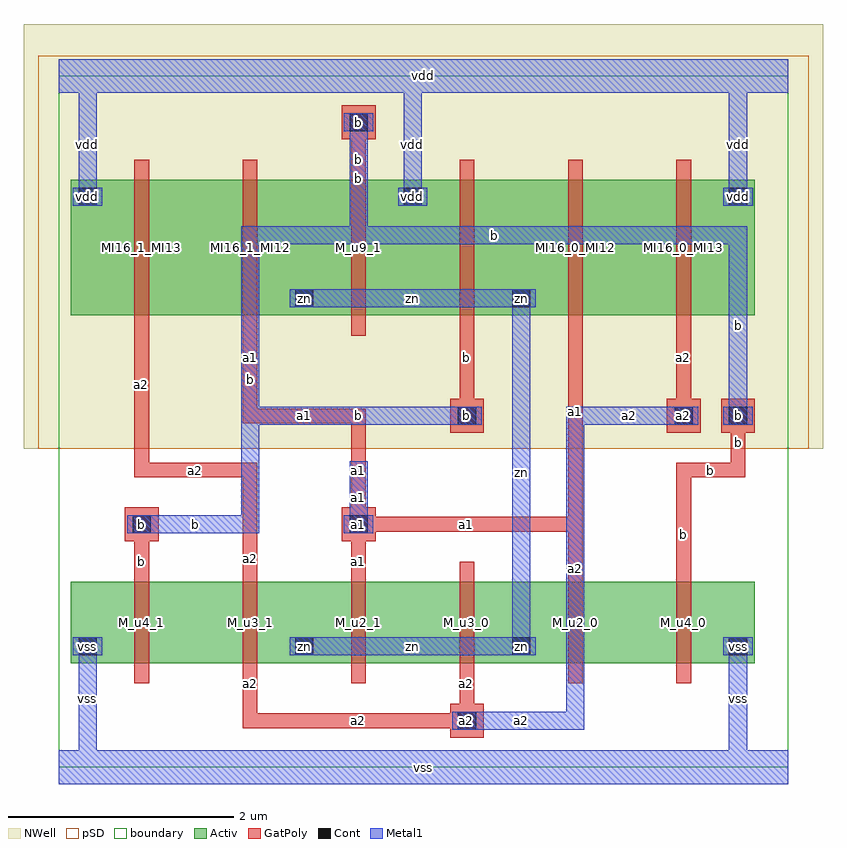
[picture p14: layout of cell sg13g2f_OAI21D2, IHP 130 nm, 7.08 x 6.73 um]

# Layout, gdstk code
import gdstk
lib = gdstk.Library(unit=1e-6, precision=1e-09)
def R(c, l, rs):  # rectangles x0, y0, x1, y1
    for r in rs: c.add(gdstk.rectangle(r[:2], r[2:], *l))
def A(c, l, x, y, w, h, nx, ny, dx, dy):  # array of equal rectangles
    R(c, l, [(x+i*dx, y+j*dy, x+i*dx+w, y+j*dy+h) for i in range(nx) for j in range(ny)])
Activ = (1, 0)
GatPoly = (5, 0)
Cont = (6, 0)
Metal1 = (8, 0)
pSD = (14, 0)
NWell = (31, 0)
TEXT = (63, 0)
boundary = (189, 4)

sg13g2f_oai21d2 = lib.new_cell('sg13g2f_OAI21D2')
A(sg13g2f_oai21d2, Activ, 0.105, 0.92, 1.26, 0.72, 6, 1, 0.96, 0)
A(sg13g2f_oai21d2, Activ, 0.105, 0.92, 0.3, 0.3, 4, 1, 1.92, 0)
A(sg13g2f_oai21d2, Activ, 0.105, 4, 1.26, 1.2, 6, 1, 0.96, 0)
A(sg13g2f_oai21d2, Activ, 0.105, 4.9, 0.3, 0.3, 3, 1, 2.88, 0)
R(sg13g2f_oai21d2, Activ, [(2.025,4,2.325,4.3), (3.945,4,4.245,4.3)])
A(sg13g2f_oai21d2, GatPoly, 0.67, 0.74, 0.13, 1.08, 6, 1, 0.96, 0)
A(sg13g2f_oai21d2, GatPoly, 0.67, 1.425, 0.13, 0.79, 3, 1, 1.92, 0)
A(sg13g2f_oai21d2, GatPoly, 1.63, 3.045, 0.13, 1.17, 3, 1, 1.92, 0)
A(sg13g2f_oai21d2, GatPoly, 0.67, 3.82, 0.13, 1.56, 6, 1, 0.96, 0)
R(sg13g2f_oai21d2, GatPoly, [(3.465,0.26,3.765,0.56), (1.63,0.345,1.76,1.135), (1.63,0.345,3.68,0.475), (3.55,0.345,3.68,1.135), (1.63,1.005,1.76,2.695), (5.47,1.425,5.6,2.695), (0.585,2,0.885,2.3), (2.505,2,2.805,2.3), (2.59,2.085,4.64,2.215), (2.59,2.085,2.72,3.175), (4.51,2.085,4.64,4.215), (0.67,2.565,1.76,2.695), (0.67,2.565,0.8,4.215), (5.47,2.565,6.08,2.695), (5.95,2.565,6.08,3.175), (3.465,2.96,3.765,3.26), (5.385,2.96,5.685,3.26), (5.865,2.96,6.165,3.26), (1.63,3.045,2.72,3.175), (2.59,4.985,2.72,5.775), (2.505,5.56,2.805,5.86)])
A(sg13g2f_oai21d2, Cont, 0.175, 0.99, 0.16, 0.16, 4, 1, 1.92, 0)
A(sg13g2f_oai21d2, Cont, 0.175, 4.97, 0.16, 0.16, 3, 1, 2.88, 0)
R(sg13g2f_oai21d2, Cont, [(3.535,0.33,3.695,0.49), (0.655,2.07,0.815,2.23), (2.575,2.07,2.735,2.23), (3.535,3.03,3.695,3.19), (5.455,3.03,5.615,3.19), (5.935,3.03,6.095,3.19), (2.095,4.07,2.255,4.23), (4.015,4.07,4.175,4.23), (2.575,5.63,2.735,5.79)])
A(sg13g2f_oai21d2, Metal1, 0.125, 0.99, 0.26, 0.16, 4, 1, 1.92, 0)
A(sg13g2f_oai21d2, Metal1, 0.125, 4.97, 0.26, 0.16, 3, 1, 2.88, 0)
A(sg13g2f_oai21d2, Metal1, 0.175, 4.97, 0.16, 1.08, 3, 1, 2.88, 0)
R(sg13g2f_oai21d2, Metal1, [(0,-0.15,6.46,0.15), (0.175,0.07,0.335,1.15), (5.935,0.07,6.095,1.15), (3.485,0.33,3.745,0.49), (3.535,0.33,4.655,0.49), (4.495,0.33,4.655,3.19), (2.095,0.99,4.175,1.15), (4.015,0.99,4.175,4.23), (0.605,2.07,0.865,2.23), (0.655,2.07,1.775,2.23), (1.615,2.07,1.775,4.79), (2.525,2.07,2.785,2.23), (2.575,2.07,2.735,2.71), (1.615,3.03,3.695,3.19), (3.485,3.03,3.745,3.19), (4.495,3.03,5.615,3.19), (5.405,3.03,5.665,3.19), (5.885,3.03,6.145,3.19), (5.935,3.03,6.095,4.79), (2.045,4.07,2.305,4.23), (2.095,4.07,4.175,4.23), (3.965,4.07,4.225,4.23), (1.615,4.63,6.095,4.79), (2.575,4.63,2.735,5.79), (2.525,5.63,2.785,5.79), (0,5.97,6.46,6.27)])
R(sg13g2f_oai21d2, pSD, [(-0.18,2.82,6.64,5.94), (-0.18,5.94,6.64,6.3)])
R(sg13g2f_oai21d2, NWell, [(-0.31,2.82,6.77,6.58)])
R(sg13g2f_oai21d2, boundary, [(0,0,6.46,6.12)])
sg13g2f_oai21d2.add(gdstk.FlexPath([(0.105,0.41),(6.165,0.41)], 0, ends="flush", simple_path=True, layer=63, datatype=0))  # TEXT
sg13g2f_oai21d2.add(gdstk.FlexPath([(0.105,1.07),(6.165,1.07)], 0, ends="flush", simple_path=True, layer=63, datatype=0))  # TEXT
sg13g2f_oai21d2.add(gdstk.FlexPath([(0.105,1.49),(6.165,1.49)], 0, ends="flush", simple_path=True, layer=63, datatype=0))  # TEXT
sg13g2f_oai21d2.add(gdstk.FlexPath([(0.105,2.15),(6.165,2.15)], 0, ends="flush", simple_path=True, layer=63, datatype=0))  # TEXT
sg13g2f_oai21d2.add(gdstk.FlexPath([(0.105,2.63),(6.165,2.63)], 0, ends="flush", simple_path=True, layer=63, datatype=0))  # TEXT
sg13g2f_oai21d2.add(gdstk.FlexPath([(0.105,3.11),(6.165,3.11)], 0, ends="flush", simple_path=True, layer=63, datatype=0))  # TEXT
sg13g2f_oai21d2.add(gdstk.FlexPath([(0.105,4.15),(6.165,4.15)], 0, ends="flush", simple_path=True, layer=63, datatype=0))  # TEXT
sg13g2f_oai21d2.add(gdstk.FlexPath([(0.105,4.71),(6.165,4.71)], 0, ends="flush", simple_path=True, layer=63, datatype=0))  # TEXT
sg13g2f_oai21d2.add(gdstk.FlexPath([(0.105,5.05),(6.165,5.05)], 0, ends="flush", simple_path=True, layer=63, datatype=0))  # TEXT
sg13g2f_oai21d2.add(gdstk.FlexPath([(0.105,5.71),(6.165,5.71)], 0, ends="flush", simple_path=True, layer=63, datatype=0))  # TEXT
sg13g2f_oai21d2.add(gdstk.FlexPath([(0.255,0.07),(0.255,6.05)], 0, ends="flush", simple_path=True, layer=63, datatype=0))  # TEXT
sg13g2f_oai21d2.add(gdstk.FlexPath([(0.735,0.07),(0.735,6.05)], 0, ends="flush", simple_path=True, layer=63, datatype=0))  # TEXT
sg13g2f_oai21d2.add(gdstk.FlexPath([(1.215,0.07),(1.215,6.05)], 0, ends="flush", simple_path=True, layer=63, datatype=0))  # TEXT
sg13g2f_oai21d2.add(gdstk.FlexPath([(1.695,0.07),(1.695,6.05)], 0, ends="flush", simple_path=True, layer=63, datatype=0))  # TEXT
sg13g2f_oai21d2.add(gdstk.FlexPath([(2.175,0.07),(2.175,6.05)], 0, ends="flush", simple_path=True, layer=63, datatype=0))  # TEXT
sg13g2f_oai21d2.add(gdstk.FlexPath([(2.655,0.07),(2.655,6.05)], 0, ends="flush", simple_path=True, layer=63, datatype=0))  # TEXT
sg13g2f_oai21d2.add(gdstk.FlexPath([(3.135,0.07),(3.135,6.05)], 0, ends="flush", simple_path=True, layer=63, datatype=0))  # TEXT
sg13g2f_oai21d2.add(gdstk.FlexPath([(3.615,0.07),(3.615,6.05)], 0, ends="flush", simple_path=True, layer=63, datatype=0))  # TEXT
sg13g2f_oai21d2.add(gdstk.FlexPath([(4.095,0.07),(4.095,6.05)], 0, ends="flush", simple_path=True, layer=63, datatype=0))  # TEXT
sg13g2f_oai21d2.add(gdstk.FlexPath([(4.575,0.07),(4.575,6.05)], 0, ends="flush", simple_path=True, layer=63, datatype=0))  # TEXT
sg13g2f_oai21d2.add(gdstk.FlexPath([(5.055,0.07),(5.055,6.05)], 0, ends="flush", simple_path=True, layer=63, datatype=0))  # TEXT
sg13g2f_oai21d2.add(gdstk.FlexPath([(5.535,0.07),(5.535,6.05)], 0, ends="flush", simple_path=True, layer=63, datatype=0))  # TEXT
sg13g2f_oai21d2.add(gdstk.FlexPath([(6.015,0.07),(6.015,6.05)], 0, ends="flush", simple_path=True, layer=63, datatype=0))  # TEXT
sg13g2f_oai21d2.add(gdstk.Label('zn', (4.095,1.07), layer=6, texttype=0))
sg13g2f_oai21d2.add(gdstk.Label('zn', (2.175,1.07), layer=6, texttype=0))
sg13g2f_oai21d2.add(gdstk.Label('zn', (4.095,4.15), layer=6, texttype=0))
sg13g2f_oai21d2.add(gdstk.Label('zn', (2.175,4.15), layer=6, texttype=0))
sg13g2f_oai21d2.add(gdstk.Label('a1', (2.655,2.15), layer=6, texttype=0))
sg13g2f_oai21d2.add(gdstk.Label('a2', (3.615,0.41), layer=6, texttype=0))
sg13g2f_oai21d2.add(gdstk.Label('a2', (5.535,3.11), layer=6, texttype=0))
sg13g2f_oai21d2.add(gdstk.Label('b', (6.015,3.11), layer=6, texttype=0))
sg13g2f_oai21d2.add(gdstk.Label('b', (0.735,2.15), layer=6, texttype=0))
sg13g2f_oai21d2.add(gdstk.Label('b', (3.615,3.11), layer=6, texttype=0))
sg13g2f_oai21d2.add(gdstk.Label('b', (2.655,5.71), layer=6, texttype=0))
sg13g2f_oai21d2.add(gdstk.Label('vss', (6.015,1.07), layer=6, texttype=0))
sg13g2f_oai21d2.add(gdstk.Label('vss', (0.255,1.07), layer=6, texttype=0))
sg13g2f_oai21d2.add(gdstk.Label('vdd', (3.135,5.05), layer=6, texttype=0))
sg13g2f_oai21d2.add(gdstk.Label('vdd', (6.015,5.05), layer=6, texttype=0))
sg13g2f_oai21d2.add(gdstk.Label('vdd', (0.255,5.05), layer=6, texttype=0))
sg13g2f_oai21d2.add(gdstk.Label('vss', (6.015,1.07), layer=8, texttype=0))
sg13g2f_oai21d2.add(gdstk.Label('vss', (6.015,0.61), layer=8, texttype=0))
sg13g2f_oai21d2.add(gdstk.Label('vss', (0.255,1.07), layer=8, texttype=0))
sg13g2f_oai21d2.add(gdstk.Label('vss', (0.255,0.61), layer=8, texttype=0))
sg13g2f_oai21d2.add(gdstk.Label('vdd', (3.135,5.05), layer=8, texttype=0))
sg13g2f_oai21d2.add(gdstk.Label('vdd', (3.135,5.51), layer=8, texttype=0))
sg13g2f_oai21d2.add(gdstk.Label('vdd', (6.015,5.05), layer=8, texttype=0))
sg13g2f_oai21d2.add(gdstk.Label('vdd', (6.015,5.51), layer=8, texttype=0))
sg13g2f_oai21d2.add(gdstk.Label('vdd', (0.255,5.05), layer=8, texttype=0))
sg13g2f_oai21d2.add(gdstk.Label('vdd', (0.255,5.51), layer=8, texttype=0))
sg13g2f_oai21d2.add(gdstk.Label('zn', (4.095,1.07), layer=8, texttype=2))
sg13g2f_oai21d2.add(gdstk.Label('zn', (2.175,1.07), layer=8, texttype=2))
sg13g2f_oai21d2.add(gdstk.Label('zn', (4.095,4.15), layer=8, texttype=2))
sg13g2f_oai21d2.add(gdstk.Label('zn', (2.175,4.15), layer=8, texttype=2))
sg13g2f_oai21d2.add(gdstk.Label('zn', (3.135,1.07), layer=8, texttype=2))
sg13g2f_oai21d2.add(gdstk.Label('zn', (4.095,2.61), layer=8, texttype=2))
sg13g2f_oai21d2.add(gdstk.Label('zn', (3.135,4.15), layer=8, texttype=2))
sg13g2f_oai21d2.add(gdstk.Label('a1', (2.655,2.15), layer=8, texttype=2))
sg13g2f_oai21d2.add(gdstk.Label('a1', (2.655,2.39), layer=8, texttype=2))
sg13g2f_oai21d2.add(gdstk.Label('a2', (3.615,0.41), layer=8, texttype=2))
sg13g2f_oai21d2.add(gdstk.Label('a2', (4.095,0.41), layer=8, texttype=2))
sg13g2f_oai21d2.add(gdstk.Label('a2', (4.575,1.76), layer=8, texttype=2))
sg13g2f_oai21d2.add(gdstk.Label('a2', (5.055,3.11), layer=8, texttype=2))
sg13g2f_oai21d2.add(gdstk.Label('a2', (5.535,3.11), layer=8, texttype=2))
sg13g2f_oai21d2.add(gdstk.Label('b', (6.015,3.11), layer=8, texttype=2))
sg13g2f_oai21d2.add(gdstk.Label('b', (6.015,3.91), layer=8, texttype=2))
sg13g2f_oai21d2.add(gdstk.Label('b', (3.855,4.71), layer=8, texttype=2))
sg13g2f_oai21d2.add(gdstk.Label('b', (1.695,3.43), layer=8, texttype=2))
sg13g2f_oai21d2.add(gdstk.Label('b', (1.215,2.15), layer=8, texttype=2))
sg13g2f_oai21d2.add(gdstk.Label('b', (0.735,2.15), layer=8, texttype=2))
sg13g2f_oai21d2.add(gdstk.Label('b', (2.655,3.11), layer=8, texttype=2))
sg13g2f_oai21d2.add(gdstk.Label('b', (3.615,3.11), layer=8, texttype=2))
sg13g2f_oai21d2.add(gdstk.Label('b', (2.655,5.21), layer=8, texttype=2))
sg13g2f_oai21d2.add(gdstk.Label('b', (2.655,5.71), layer=8, texttype=2))
sg13g2f_oai21d2.add(gdstk.Label('vss', (3.23,0), layer=8, texttype=2))
sg13g2f_oai21d2.add(gdstk.Label('vdd', (3.23,6.12), layer=8, texttype=2))
sg13g2f_oai21d2.add(gdstk.Label('zn', (4.095,1.07), layer=8, texttype=2))
sg13g2f_oai21d2.add(gdstk.Label('zn', (2.175,1.07), layer=8, texttype=2))
sg13g2f_oai21d2.add(gdstk.Label('zn', (4.095,4.15), layer=8, texttype=2))
sg13g2f_oai21d2.add(gdstk.Label('zn', (2.175,4.15), layer=8, texttype=2))
sg13g2f_oai21d2.add(gdstk.Label('zn', (3.135,1.07), layer=8, texttype=2))
sg13g2f_oai21d2.add(gdstk.Label('zn', (4.095,2.61), layer=8, texttype=2))
sg13g2f_oai21d2.add(gdstk.Label('zn', (3.135,4.15), layer=8, texttype=2))
sg13g2f_oai21d2.add(gdstk.Label('a1', (2.655,2.15), layer=8, texttype=2))
sg13g2f_oai21d2.add(gdstk.Label('a1', (2.655,2.39), layer=8, texttype=2))
sg13g2f_oai21d2.add(gdstk.Label('a2', (3.615,0.41), layer=8, texttype=2))
sg13g2f_oai21d2.add(gdstk.Label('a2', (4.095,0.41), layer=8, texttype=2))
sg13g2f_oai21d2.add(gdstk.Label('a2', (4.575,1.76), layer=8, texttype=2))
sg13g2f_oai21d2.add(gdstk.Label('a2', (5.055,3.11), layer=8, texttype=2))
sg13g2f_oai21d2.add(gdstk.Label('a2', (5.535,3.11), layer=8, texttype=2))
sg13g2f_oai21d2.add(gdstk.Label('b', (6.015,3.11), layer=8, texttype=2))
sg13g2f_oai21d2.add(gdstk.Label('b', (6.015,3.91), layer=8, texttype=2))
sg13g2f_oai21d2.add(gdstk.Label('b', (3.855,4.71), layer=8, texttype=2))
sg13g2f_oai21d2.add(gdstk.Label('b', (1.695,3.43), layer=8, texttype=2))
sg13g2f_oai21d2.add(gdstk.Label('b', (1.215,2.15), layer=8, texttype=2))
sg13g2f_oai21d2.add(gdstk.Label('b', (0.735,2.15), layer=8, texttype=2))
sg13g2f_oai21d2.add(gdstk.Label('b', (2.655,3.11), layer=8, texttype=2))
sg13g2f_oai21d2.add(gdstk.Label('b', (3.615,3.11), layer=8, texttype=2))
sg13g2f_oai21d2.add(gdstk.Label('b', (2.655,5.21), layer=8, texttype=2))
sg13g2f_oai21d2.add(gdstk.Label('b', (2.655,5.71), layer=8, texttype=2))
sg13g2f_oai21d2.add(gdstk.Label('vss', (3.23,0), layer=8, texttype=2))
sg13g2f_oai21d2.add(gdstk.Label('vdd', (3.23,6.12), layer=8, texttype=2))
sg13g2f_oai21d2.add(gdstk.Label('M_u2_0', (4.575,1.28), layer=1, texttype=0))
sg13g2f_oai21d2.add(gdstk.Label('M_u2_1', (2.655,1.28), layer=1, texttype=0))
sg13g2f_oai21d2.add(gdstk.Label('M_u3_0', (3.615,1.28), layer=1, texttype=0))
sg13g2f_oai21d2.add(gdstk.Label('M_u3_1', (1.695,1.28), layer=1, texttype=0))
sg13g2f_oai21d2.add(gdstk.Label('M_u4_0', (5.535,1.28), layer=1, texttype=0))
sg13g2f_oai21d2.add(gdstk.Label('M_u4_1', (0.735,1.28), layer=1, texttype=0))
sg13g2f_oai21d2.add(gdstk.Label('MI16_0_MI12', (4.575,4.6), layer=1, texttype=0))
sg13g2f_oai21d2.add(gdstk.Label('M_u9_0', (3.615,4.6), layer=1, texttype=0))
sg13g2f_oai21d2.add(gdstk.Label('M_u9_1', (2.655,4.6), layer=1, texttype=0))
sg13g2f_oai21d2.add(gdstk.Label('MI16_0_MI13', (5.535,4.6), layer=1, texttype=0))
sg13g2f_oai21d2.add(gdstk.Label('MI16_1_MI12', (1.695,4.6), layer=1, texttype=0))
sg13g2f_oai21d2.add(gdstk.Label('MI16_1_MI13', (0.735,4.6), layer=1, texttype=0))
sg13g2f_oai21d2.add(gdstk.Label('zn', (4.095,1.07), layer=1, texttype=0))
sg13g2f_oai21d2.add(gdstk.Label('zn', (2.175,1.07), layer=1, texttype=0))
sg13g2f_oai21d2.add(gdstk.Label('zn', (4.095,4.15), layer=1, texttype=0))
sg13g2f_oai21d2.add(gdstk.Label('zn', (2.175,4.15), layer=1, texttype=0))
sg13g2f_oai21d2.add(gdstk.Label('vss', (6.015,1.07), layer=1, texttype=0))
sg13g2f_oai21d2.add(gdstk.Label('vss', (0.255,1.07), layer=1, texttype=0))
sg13g2f_oai21d2.add(gdstk.Label('vdd', (3.135,5.05), layer=1, texttype=0))
sg13g2f_oai21d2.add(gdstk.Label('vdd', (6.015,5.05), layer=1, texttype=0))
sg13g2f_oai21d2.add(gdstk.Label('vdd', (0.255,5.05), layer=1, texttype=0))
sg13g2f_oai21d2.add(gdstk.Label('zn', (4.095,1.07), layer=8, texttype=25))
sg13g2f_oai21d2.add(gdstk.Label('zn', (2.175,1.07), layer=8, texttype=25))
sg13g2f_oai21d2.add(gdstk.Label('zn', (4.095,4.15), layer=8, texttype=25))
sg13g2f_oai21d2.add(gdstk.Label('zn', (2.175,4.15), layer=8, texttype=25))
sg13g2f_oai21d2.add(gdstk.Label('zn', (3.135,1.07), layer=8, texttype=25))
sg13g2f_oai21d2.add(gdstk.Label('zn', (4.095,2.61), layer=8, texttype=25))
sg13g2f_oai21d2.add(gdstk.Label('zn', (3.135,4.15), layer=8, texttype=25))
sg13g2f_oai21d2.add(gdstk.Label('a1', (2.655,2.15), layer=8, texttype=25))
sg13g2f_oai21d2.add(gdstk.Label('a1', (2.655,2.39), layer=8, texttype=25))
sg13g2f_oai21d2.add(gdstk.Label('a2', (3.615,0.41), layer=8, texttype=25))
sg13g2f_oai21d2.add(gdstk.Label('a2', (4.095,0.41), layer=8, texttype=25))
sg13g2f_oai21d2.add(gdstk.Label('a2', (4.575,1.76), layer=8, texttype=25))
sg13g2f_oai21d2.add(gdstk.Label('a2', (5.055,3.11), layer=8, texttype=25))
sg13g2f_oai21d2.add(gdstk.Label('a2', (5.535,3.11), layer=8, texttype=25))
sg13g2f_oai21d2.add(gdstk.Label('b', (6.015,3.11), layer=8, texttype=25))
sg13g2f_oai21d2.add(gdstk.Label('b', (6.015,3.91), layer=8, texttype=25))
sg13g2f_oai21d2.add(gdstk.Label('b', (3.855,4.71), layer=8, texttype=25))
sg13g2f_oai21d2.add(gdstk.Label('b', (1.695,3.43), layer=8, texttype=25))
sg13g2f_oai21d2.add(gdstk.Label('b', (1.215,2.15), layer=8, texttype=25))
sg13g2f_oai21d2.add(gdstk.Label('b', (0.735,2.15), layer=8, texttype=25))
sg13g2f_oai21d2.add(gdstk.Label('b', (2.655,3.11), layer=8, texttype=25))
sg13g2f_oai21d2.add(gdstk.Label('b', (3.615,3.11), layer=8, texttype=25))
sg13g2f_oai21d2.add(gdstk.Label('b', (2.655,5.21), layer=8, texttype=25))
sg13g2f_oai21d2.add(gdstk.Label('b', (2.655,5.71), layer=8, texttype=25))
sg13g2f_oai21d2.add(gdstk.Label('vss', (3.23,0), layer=8, texttype=25))
sg13g2f_oai21d2.add(gdstk.Label('vdd', (3.23,6.12), layer=8, texttype=25))
sg13g2f_oai21d2.add(gdstk.Label('a1', (4.575,1.82), layer=5, texttype=0))
sg13g2f_oai21d2.add(gdstk.Label('a1', (3.615,2.15), layer=5, texttype=0))
sg13g2f_oai21d2.add(gdstk.Label('a1', (2.655,1.82), layer=5, texttype=0))
sg13g2f_oai21d2.add(gdstk.Label('a1', (4.575,3.15), layer=5, texttype=0))
sg13g2f_oai21d2.add(gdstk.Label('a1', (2.655,2.63), layer=5, texttype=0))
sg13g2f_oai21d2.add(gdstk.Label('a1', (2.175,3.11), layer=5, texttype=0))
sg13g2f_oai21d2.add(gdstk.Label('a1', (1.695,3.63), layer=5, texttype=0))
sg13g2f_oai21d2.add(gdstk.Label('a1', (2.655,2.15), layer=5, texttype=0))
sg13g2f_oai21d2.add(gdstk.Label('a2', (3.615,0.74), layer=5, texttype=0))
sg13g2f_oai21d2.add(gdstk.Label('a2', (2.655,0.41), layer=5, texttype=0))
sg13g2f_oai21d2.add(gdstk.Label('a2', (1.695,0.74), layer=5, texttype=0))
sg13g2f_oai21d2.add(gdstk.Label('a2', (3.615,0.41), layer=5, texttype=0))
sg13g2f_oai21d2.add(gdstk.Label('a2', (5.535,3.11), layer=5, texttype=0))
sg13g2f_oai21d2.add(gdstk.Label('a2', (5.535,3.63), layer=5, texttype=0))
sg13g2f_oai21d2.add(gdstk.Label('a2', (1.695,1.85), layer=5, texttype=0))
sg13g2f_oai21d2.add(gdstk.Label('a2', (1.215,2.63), layer=5, texttype=0))
sg13g2f_oai21d2.add(gdstk.Label('a2', (0.735,3.39), layer=5, texttype=0))
sg13g2f_oai21d2.add(gdstk.Label('b', (5.535,2.06), layer=5, texttype=0))
sg13g2f_oai21d2.add(gdstk.Label('b', (5.775,2.63), layer=5, texttype=0))
sg13g2f_oai21d2.add(gdstk.Label('b', (6.015,2.87), layer=5, texttype=0))
sg13g2f_oai21d2.add(gdstk.Label('b', (6.015,3.11), layer=5, texttype=0))
sg13g2f_oai21d2.add(gdstk.Label('b', (0.735,2.15), layer=5, texttype=0))
sg13g2f_oai21d2.add(gdstk.Label('b', (0.735,1.82), layer=5, texttype=0))
sg13g2f_oai21d2.add(gdstk.Label('b', (3.615,3.11), layer=5, texttype=0))
sg13g2f_oai21d2.add(gdstk.Label('b', (3.615,3.63), layer=5, texttype=0))
sg13g2f_oai21d2.add(gdstk.Label('b', (2.655,5.71), layer=5, texttype=0))
sg13g2f_oai21d2.add(gdstk.Label('b', (2.655,5.38), layer=5, texttype=0))

lib.write_gds('sg13g2f_OAI21D2.gds')
